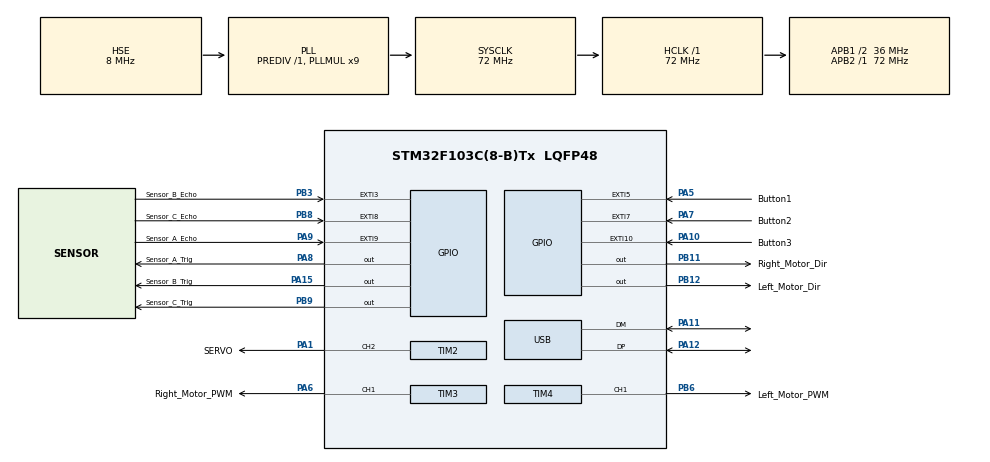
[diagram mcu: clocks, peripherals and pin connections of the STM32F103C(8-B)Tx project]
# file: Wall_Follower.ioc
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Mcu.Family=STM32F1
Mcu.Name=STM32F103C(8-B)Tx
Mcu.Package=LQFP48
NVIC.PriorityGroup=NVIC_PRIORITYGROUP_4
NVIC.USB_LP_CAN1_RX0_IRQn=true\:0\:0\:false\:false\:true\:false\:true\:true
PA1.GPIO_Label=SERVO
PA1.Signal=S_TIM2_CH2
PA10.GPIO_Label=Button3
PA10.GPIO_ModeDefaultEXTI=GPIO_MODE_IT_FALLING
PA10.GPIO_PuPd=GPIO_PULLUP
PA10.Signal=GPXTI10
PA11.Mode=Device
PA11.Signal=USB_DM
PA12.Mode=Device
PA12.Signal=USB_DP
PA13.Mode=Serial_Wire
PA13.Signal=SYS_JTMS-SWDIO
PA14.Mode=Serial_Wire
PA14.Signal=SYS_JTCK-SWCLK
PA15.GPIO_Label=Sensor_B_Trig
PA15.Signal=GPIO_Output
PA5.GPIO_Label=Button1
PA5.Signal=GPXTI5
PA6.GPIO_Label=Right_Motor_PWM
PA6.Signal=S_TIM3_CH1
PA7.GPIO_Label=Button2
PA7.GPIO_ModeDefaultEXTI=GPIO_MODE_IT_FALLING
PA7.GPIO_PuPd=GPIO_PULLUP
PA7.Signal=GPXTI7
PA8.GPIO_Label=Sensor_A_Trig
PA8.Signal=GPIO_Output
PA9.GPIO_Label=Sensor_A_Echo
PA9.GPIO_ModeDefaultEXTI=GPIO_MODE_IT_RISING_FALLING
PA9.Signal=GPXTI9
PB11.GPIO_Label=Right_Motor_Dir
PB11.Signal=GPIO_Output
PB12.GPIO_Label=Left_Motor_Dir
PB12.Signal=GPIO_Output
PB3.GPIO_Label=Sensor_B_Echo
PB3.GPIO_ModeDefaultEXTI=GPIO_MODE_IT_RISING_FALLING
PB3.Signal=GPXTI3
PB6.GPIO_Label=Left_Motor_PWM
PB6.Signal=S_TIM4_CH1
PB8.GPIO_Label=Sensor_C_Echo
PB8.GPIO_ModeDefaultEXTI=GPIO_MODE_IT_RISING_FALLING
PB8.Signal=GPXTI8
PB9.GPIO_Label=Sensor_C_Trig
PB9.Signal=GPIO_Output
PC14-OSC32_IN.Mode=LSE-External-Clock-Source
PC14-OSC32_IN.Signal=RCC_OSC32_IN
PC15-OSC32_OUT.Mode=LSE-External-Clock-Source
PC15-OSC32_OUT.Signal=RCC_OSC32_OUT
PD0-OSC_IN.Mode=HSE-External-Oscillator
PD0-OSC_IN.Signal=RCC_OSC_IN
PD1-OSC_OUT.Mode=HSE-External-Oscillator
PD1-OSC_OUT.Signal=RCC_OSC_OUT
ProjectManager.HeapSize=0x200
ProjectManager.StackSize=0x400
ProjectManager.TargetToolchain=STM32CubeIDE
RCC.AHBFreq_Value=72000000
RCC.APB1CLKDivider=RCC_HCLK_DIV2
RCC.APB1Freq_Value=36000000
RCC.APB1TimFreq_Value=72000000
RCC.APB2Freq_Value=72000000
RCC.APB2TimFreq_Value=72000000
RCC.HCLKFreq_Value=72000000
RCC.PLLMUL=RCC_PLL_MUL9
RCC.PLLSourceVirtual=RCC_PLLSOURCE_HSE
RCC.SYSCLKFreq_VALUE=72000000
RCC.SYSCLKSource=RCC_SYSCLKSOURCE_PLLCLK
RCC.USBFreq_Value=48000000
RCC.USBPrescaler=RCC_USBCLKSOURCE_PLL_DIV1_5
SH.S_TIM2_CH2.0=TIM2_CH2,PWM Generation2 CH2
SH.S_TIM3_CH1.0=TIM3_CH1,PWM Generation1 CH1
SH.S_TIM4_CH1.0=TIM4_CH1,PWM Generation1 CH1
TIM1.AutoReloadPreload=TIM_AUTORELOAD_PRELOAD_ENABLE
TIM1.Prescaler=36-1
TIM2.AutoReloadPreload=TIM_AUTORELOAD_PRELOAD_ENABLE
TIM2.Channel-PWM\ Generation2\ CH2=TIM_CHANNEL_2
TIM2.Prescaler=3600-1
TIM3.AutoReloadPreload=TIM_AUTORELOAD_PRELOAD_ENABLE
TIM3.Channel-PWM\ Generation1\ CH1=TIM_CHANNEL_1
TIM3.Period=65535
TIM3.Prescaler=0
TIM3.Pulse-PWM\ Generation1\ CH1=0
TIM4.AutoReloadPreload=TIM_AUTORELOAD_PRELOAD_ENABLE
TIM4.Channel-PWM\ Generation1\ CH1=TIM_CHANNEL_1
TIM4.Period=65535
TIM4.Prescaler=0
TIM4.Pulse-PWM\ Generation1\ CH1=0
USB_DEVICE.CLASS_NAME_FS=CDC
USB_DEVICE.VirtualMode=Cdc
USB_DEVICE.VirtualModeFS=Cdc_FS
VP_TIM1_VS_ClockSourceINT.Mode=Internal
VP_TIM2_VS_ClockSourceINT.Mode=Internal
VP_TIM3_VS_ClockSourceINT.Mode=Internal
VP_TIM4_VS_ClockSourceINT.Mode=Internal
VP_USB_DEVICE_VS_USB_DEVICE_CDC_FS.Mode=CDC_FS
board=custom

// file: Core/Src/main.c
/* USER CODE BEGIN Header */
/**
 ******************************************************************************
 * @file           : main.c
 * @brief          : Main program body
 ******************************************************************************
 * @attention
 *
 * Copyright (c) 2023 STMicroelectronics.
 * All rights reserved.
 *
 * This software is licensed under terms that can be found in the LICENSE file
 * in the root directory of this software component.
 * If no LICENSE file comes with this software, it is provided AS-IS.
 *
 ******************************************************************************
 */
/* USER CODE END Header */
#include "main.h"
#include "usb_device.h"

/* USER CODE BEGIN Includes */
#include "physical_parameters.h"
#include "Motors.h"
#include "Control.h"
#include "Sensors.h"
#include "debug.h"
#include <math.h>
/* USER CODE END Includes */

/* USER CODE BEGIN PM */
ultra_sonic_t front_sensor = { .sensor_echo_pin = Sensor_A_Trig_Pin, .sensor_echo_port = Sensor_A_Trig_GPIO_Port, .sensor_trig_pin = Sensor_A_Echo_Pin, .sensor_trig_port = Sensor_A_Echo_GPIO_Port };
ultra_sonic_t top_left_sensor = { .sensor_echo_pin = Sensor_B_Trig_Pin, .sensor_echo_port = Sensor_B_Trig_GPIO_Port, .sensor_trig_pin = Sensor_B_Echo_Pin, .sensor_trig_port = Sensor_B_Echo_GPIO_Port };
ultra_sonic_t top_right_sensor = { .sensor_echo_pin = Sensor_C_Trig_Pin, .sensor_echo_port = Sensor_C_Trig_GPIO_Port, .sensor_trig_pin = Sensor_C_Echo_Pin, .sensor_trig_port = Sensor_C_Echo_GPIO_Port };
/* USER CODE END PM */

TIM_HandleTypeDef htim1;
TIM_HandleTypeDef htim2;
TIM_HandleTypeDef htim3;
TIM_HandleTypeDef htim4;

/* USER CODE BEGIN PV */
TIM_HandleTypeDef *Micros_Timer = &htim1;
TIM_HandleTypeDef *Millis_Timer = &htim2;
TIM_HandleTypeDef *Right_Motor_Timer = &htim3;
TIM_HandleTypeDef *Left_Motor_Timer = &htim4;
/* USER CODE END PV */

void SystemClock_Config(void);
static void MX_GPIO_Init(void);
static void MX_TIM3_Init(void);
static void MX_TIM4_Init(void);
static void MX_TIM1_Init(void);
static void MX_TIM2_Init(void);

/* USER CODE BEGIN 0 */

uint32_t micros(TIM_HandleTypeDef *timer) {
	return __HAL_TIM_GET_COUNTER(timer);
}

uint32_t millis(TIM_HandleTypeDef *timer) {
	return __HAL_TIM_GET_COUNTER(timer);
}

void HAL_GPIO_EXTI_Callback(uint16_t GPIO_Pin) {
	uint32_t time_diff = 0;
	switch (GPIO_Pin) {
	case Sensor_A_Echo_Pin:
		if (front_sensor.start_time == 0) {
			front_sensor.start_time = micros(Micros_Timer);		// Time in uS
		} else {
			time_diff = micros(Micros_Timer) - front_sensor.start_time;
			front_sensor.distance_read = time_diff/1E6 * SPEED_OF_SOUND / 2;
			front_sensor.start_time = 0;
		}
		break;
	case Sensor_B_Echo_Pin:
//		timeNow = micros(Micros_Timer);
		break;
	case Sensor_C_Echo_Pin:
//		timeNow = micros(Micros_Timer);
		break;
	case Button1_Pin:
		break;
	case Button2_Pin:
		break;
	case Button3_Pin:
		break;
	}
}
motor_t left_motor;
motor_t right_motor;
robot_pos_t robot_pos;

uint32_t prev_time_ms = 0;

enum debug_level dbg_level;
enum debug_level dbg = DBG;

// Target position to reach
float target_vector[3][2] = { { 0, 5, 0.3 }, { 0.2, 0.5 }, { 0.6, 0.4 } };
uint8_t waypoint_idx = 0;
float target_dist_threshold = 0.1;

float drive_speed = 2 * 2 * M_PI;		// Robot drive speed is 2 rev/s

/* USER CODE END 0 */

int main(void)
{
  /* USER CODE BEGIN 1 */
	left_motor.motor_timer = Left_Motor_Timer;
	left_motor.dir_pin_port = Left_Motor_Dir_GPIO_Port;
	left_motor.dir_pin = Left_Motor_Dir_Pin;
	left_motor.rate_rps = 0;

	right_motor.motor_timer = Right_Motor_Timer;
	right_motor.dir_pin_port = Right_Motor_Dir_GPIO_Port;
	right_motor.dir_pin = Right_Motor_Dir_Pin;
	right_motor.rate_rps = 0;

	robot_pos.left_motor = &left_motor;
	robot_pos.right_motor = &right_motor;
	robot_pos.x = 0;
	robot_pos.y = 0;
	robot_pos.theta = 0;
	robot_pos.drive_speed = drive_speed;

  /* USER CODE END 1 */

  /* MCU Configuration--------------------------------------------------------*/

  /* Reset of all peripherals, Initializes the Flash interface and the Systick. */
  HAL_Init();

  /* Configure the system clock */
  SystemClock_Config();

  /* Initialize all configured peripherals */
  MX_GPIO_Init();
  MX_TIM3_Init();
  MX_TIM4_Init();
  MX_TIM1_Init();
  MX_TIM2_Init();
  MX_USB_DEVICE_Init();
  /* USER CODE BEGIN 2 */
	// Start time reference counters
	HAL_TIM_Base_Start(Millis_Timer);
	HAL_TIM_Base_Start(Micros_Timer);

  /* USER CODE END 2 */

  /* Infinite loop */
	while (1) {

    /* USER CODE BEGIN 3 */

		calibrate_drive(0.01, 0.01, &left_motor, &right_motor);
		while(1);

		float target_x = target_vector[waypoint_idx][0];
		float target_y = target_vector[waypoint_idx][1];
		float target_angle = atan2(target_y - robot_pos.y, target_x - robot_pos.x);
		float dist_to_target = sqrt((target_y - robot_pos.y) * (target_y - robot_pos.y) + (target_x - robot_pos.x) * (target_x - robot_pos.x));

		/* Check if target location is reached */
		if (dist_to_target < target_dist_threshold) {
			uint8_t num_waypoints = sizeof(target_vector) / sizeof(target_vector[0]);
			if (waypoint_idx >= num_waypoints) {
				robot_pos.drive_speed = 0;
				drive_motor_speed(&left_motor, left_motor.rate_rps);
				drive_motor_speed(&right_motor, right_motor.rate_rps);
			}

			else {
				waypoint_idx++;
				robot_pos.drive_speed = 0;
				drive_motor_speed(&left_motor, left_motor.rate_rps);
				drive_motor_speed(&right_motor, right_motor.rate_rps);
			}

		}

		/* Drive the robot to the target location */
		steer_to_target(&robot_pos, target_angle);
		drive_motor_speed(&left_motor, left_motor.rate_rps);
		drive_motor_speed(&right_motor, right_motor.rate_rps);

		/* Check for obstacles */

		// Update vehicle state based on change of motor rate
		uint32_t current_time_ms = millis(Millis_Timer);
		float dt = prev_time_ms - current_time_ms;
		prev_time_ms = current_time_ms;
		update_robot_position(&robot_pos, dt);

		HAL_Delay(10);

		char print_string[64];
		size_t sz = snprintf(print_string, sizeof(print_string), "robot_state -> x: %f, y: %f, theta: %f\r\n", robot_pos.x, robot_pos.y, robot_pos.theta);
		debug_print(print_string, sz, dbg);

	}
  /* USER CODE END 3 */
}

void SystemClock_Config(void)
{
  RCC_OscInitTypeDef RCC_OscInitStruct = {0};
  RCC_ClkInitTypeDef RCC_ClkInitStruct = {0};
  RCC_PeriphCLKInitTypeDef PeriphClkInit = {0};

  /** Initializes the RCC Oscillators according to the specified parameters
  * in the RCC_OscInitTypeDef structure.
  */
  RCC_OscInitStruct.OscillatorType = RCC_OSCILLATORTYPE_HSE;
  RCC_OscInitStruct.HSEState = RCC_HSE_ON;
  RCC_OscInitStruct.HSEPredivValue = RCC_HSE_PREDIV_DIV1;
  RCC_OscInitStruct.HSIState = RCC_HSI_ON;
  RCC_OscInitStruct.PLL.PLLState = RCC_PLL_ON;
  RCC_OscInitStruct.PLL.PLLSource = RCC_PLLSOURCE_HSE;
  RCC_OscInitStruct.PLL.PLLMUL = RCC_PLL_MUL9;
  if (HAL_RCC_OscConfig(&RCC_OscInitStruct) != HAL_OK)
  {
    Error_Handler();
  }

  /** Initializes the CPU, AHB and APB buses clocks
  */
  RCC_ClkInitStruct.ClockType = RCC_CLOCKTYPE_HCLK|RCC_CLOCKTYPE_SYSCLK
                              |RCC_CLOCKTYPE_PCLK1|RCC_CLOCKTYPE_PCLK2;
  RCC_ClkInitStruct.SYSCLKSource = RCC_SYSCLKSOURCE_PLLCLK;
  RCC_ClkInitStruct.AHBCLKDivider = RCC_SYSCLK_DIV1;
  RCC_ClkInitStruct.APB1CLKDivider = RCC_HCLK_DIV2;
  RCC_ClkInitStruct.APB2CLKDivider = RCC_HCLK_DIV1;

  if (HAL_RCC_ClockConfig(&RCC_ClkInitStruct, FLASH_LATENCY_2) != HAL_OK)
  {
    Error_Handler();
  }
  PeriphClkInit.PeriphClockSelection = RCC_PERIPHCLK_USB;
  PeriphClkInit.UsbClockSelection = RCC_USBCLKSOURCE_PLL_DIV1_5;
  if (HAL_RCCEx_PeriphCLKConfig(&PeriphClkInit) != HAL_OK)
  {
    Error_Handler();
  }
}

static void MX_TIM1_Init(void)
{

  TIM_ClockConfigTypeDef sClockSourceConfig = {0};
  TIM_MasterConfigTypeDef sMasterConfig = {0};

  htim1.Instance = TIM1;
  htim1.Init.Prescaler = 36-1;
  htim1.Init.CounterMode = TIM_COUNTERMODE_UP;
  htim1.Init.Period = 65535;
  htim1.Init.ClockDivision = TIM_CLOCKDIVISION_DIV1;
  htim1.Init.RepetitionCounter = 0;
  htim1.Init.AutoReloadPreload = TIM_AUTORELOAD_PRELOAD_ENABLE;
  if (HAL_TIM_Base_Init(&htim1) != HAL_OK)
  {
    Error_Handler();
  }
  sClockSourceConfig.ClockSource = TIM_CLOCKSOURCE_INTERNAL;
  if (HAL_TIM_ConfigClockSource(&htim1, &sClockSourceConfig) != HAL_OK)
  {
    Error_Handler();
  }
  sMasterConfig.MasterOutputTrigger = TIM_TRGO_RESET;
  sMasterConfig.MasterSlaveMode = TIM_MASTERSLAVEMODE_DISABLE;
  if (HAL_TIMEx_MasterConfigSynchronization(&htim1, &sMasterConfig) != HAL_OK)
  {
    Error_Handler();
  }

}

static void MX_TIM2_Init(void)
{

  TIM_ClockConfigTypeDef sClockSourceConfig = {0};
  TIM_MasterConfigTypeDef sMasterConfig = {0};
  TIM_OC_InitTypeDef sConfigOC = {0};

  htim2.Instance = TIM2;
  htim2.Init.Prescaler = 3600-1;
  htim2.Init.CounterMode = TIM_COUNTERMODE_UP;
  htim2.Init.Period = 65535;
  htim2.Init.ClockDivision = TIM_CLOCKDIVISION_DIV1;
  htim2.Init.AutoReloadPreload = TIM_AUTORELOAD_PRELOAD_ENABLE;
  if (HAL_TIM_Base_Init(&htim2) != HAL_OK)
  {
    Error_Handler();
  }
  sClockSourceConfig.ClockSource = TIM_CLOCKSOURCE_INTERNAL;
  if (HAL_TIM_ConfigClockSource(&htim2, &sClockSourceConfig) != HAL_OK)
  {
    Error_Handler();
  }
  if (HAL_TIM_PWM_Init(&htim2) != HAL_OK)
  {
    Error_Handler();
  }
  sMasterConfig.MasterOutputTrigger = TIM_TRGO_RESET;
  sMasterConfig.MasterSlaveMode = TIM_MASTERSLAVEMODE_DISABLE;
  if (HAL_TIMEx_MasterConfigSynchronization(&htim2, &sMasterConfig) != HAL_OK)
  {
    Error_Handler();
  }
  sConfigOC.OCMode = TIM_OCMODE_PWM1;
  sConfigOC.Pulse = 0;
  sConfigOC.OCPolarity = TIM_OCPOLARITY_HIGH;
  sConfigOC.OCFastMode = TIM_OCFAST_DISABLE;
  if (HAL_TIM_PWM_ConfigChannel(&htim2, &sConfigOC, TIM_CHANNEL_2) != HAL_OK)
  {
    Error_Handler();
  }
  HAL_TIM_MspPostInit(&htim2);

}

static void MX_TIM3_Init(void)
{

  TIM_ClockConfigTypeDef sClockSourceConfig = {0};
  TIM_MasterConfigTypeDef sMasterConfig = {0};
  TIM_OC_InitTypeDef sConfigOC = {0};

  htim3.Instance = TIM3;
  htim3.Init.Prescaler = 0;
  htim3.Init.CounterMode = TIM_COUNTERMODE_UP;
  htim3.Init.Period = 65535;
  htim3.Init.ClockDivision = TIM_CLOCKDIVISION_DIV1;
  htim3.Init.AutoReloadPreload = TIM_AUTORELOAD_PRELOAD_ENABLE;
  if (HAL_TIM_Base_Init(&htim3) != HAL_OK)
  {
    Error_Handler();
  }
  sClockSourceConfig.ClockSource = TIM_CLOCKSOURCE_INTERNAL;
  if (HAL_TIM_ConfigClockSource(&htim3, &sClockSourceConfig) != HAL_OK)
  {
    Error_Handler();
  }
  if (HAL_TIM_PWM_Init(&htim3) != HAL_OK)
  {
    Error_Handler();
  }
  sMasterConfig.MasterOutputTrigger = TIM_TRGO_RESET;
  sMasterConfig.MasterSlaveMode = TIM_MASTERSLAVEMODE_DISABLE;
  if (HAL_TIMEx_MasterConfigSynchronization(&htim3, &sMasterConfig) != HAL_OK)
  {
    Error_Handler();
  }
  sConfigOC.OCMode = TIM_OCMODE_PWM1;
  sConfigOC.Pulse = 0;
  sConfigOC.OCPolarity = TIM_OCPOLARITY_HIGH;
  sConfigOC.OCFastMode = TIM_OCFAST_DISABLE;
  if (HAL_TIM_PWM_ConfigChannel(&htim3, &sConfigOC, TIM_CHANNEL_1) != HAL_OK)
  {
    Error_Handler();
  }
  HAL_TIM_MspPostInit(&htim3);

}

static void MX_TIM4_Init(void)
{

  TIM_ClockConfigTypeDef sClockSourceConfig = {0};
  TIM_MasterConfigTypeDef sMasterConfig = {0};
  TIM_OC_InitTypeDef sConfigOC = {0};

  htim4.Instance = TIM4;
  htim4.Init.Prescaler = 0;
  htim4.Init.CounterMode = TIM_COUNTERMODE_UP;
  htim4.Init.Period = 65535;
  htim4.Init.ClockDivision = TIM_CLOCKDIVISION_DIV1;
  htim4.Init.AutoReloadPreload = TIM_AUTORELOAD_PRELOAD_ENABLE;
  if (HAL_TIM_Base_Init(&htim4) != HAL_OK)
  {
    Error_Handler();
  }
  sClockSourceConfig.ClockSource = TIM_CLOCKSOURCE_INTERNAL;
  if (HAL_TIM_ConfigClockSource(&htim4, &sClockSourceConfig) != HAL_OK)
  {
    Error_Handler();
  }
  if (HAL_TIM_PWM_Init(&htim4) != HAL_OK)
  {
    Error_Handler();
  }
  sMasterConfig.MasterOutputTrigger = TIM_TRGO_RESET;
  sMasterConfig.MasterSlaveMode = TIM_MASTERSLAVEMODE_DISABLE;
  if (HAL_TIMEx_MasterConfigSynchronization(&htim4, &sMasterConfig) != HAL_OK)
  {
    Error_Handler();
  }
  sConfigOC.OCMode = TIM_OCMODE_PWM1;
  sConfigOC.Pulse = 0;
  sConfigOC.OCPolarity = TIM_OCPOLARITY_HIGH;
  sConfigOC.OCFastMode = TIM_OCFAST_DISABLE;
  if (HAL_TIM_PWM_ConfigChannel(&htim4, &sConfigOC, TIM_CHANNEL_1) != HAL_OK)
  {
    Error_Handler();
  }
  HAL_TIM_MspPostInit(&htim4);

}

static void MX_GPIO_Init(void)
{
  GPIO_InitTypeDef GPIO_InitStruct = {0};

  /* GPIO Ports Clock Enable */
  __HAL_RCC_GPIOC_CLK_ENABLE();
  __HAL_RCC_GPIOD_CLK_ENABLE();
  __HAL_RCC_GPIOA_CLK_ENABLE();
  __HAL_RCC_GPIOB_CLK_ENABLE();

  /*Configure GPIO pin Output Level */
  HAL_GPIO_WritePin(GPIOB, Right_Motor_Dir_Pin|Left_Motor_Dir_Pin|Sensor_C_Trig_Pin, GPIO_PIN_RESET);

  /*Configure GPIO pin Output Level */
  HAL_GPIO_WritePin(GPIOA, Sensor_A_Trig_Pin|Sensor_B_Trig_Pin, GPIO_PIN_RESET);

  /*Configure GPIO pin : Button1_Pin */
  GPIO_InitStruct.Pin = Button1_Pin;
  GPIO_InitStruct.Mode = GPIO_MODE_IT_RISING;
  GPIO_InitStruct.Pull = GPIO_NOPULL;
  HAL_GPIO_Init(Button1_GPIO_Port, &GPIO_InitStruct);

  /*Configure GPIO pins : Button2_Pin Button3_Pin */
  GPIO_InitStruct.Pin = Button2_Pin|Button3_Pin;
  GPIO_InitStruct.Mode = GPIO_MODE_IT_FALLING;
  GPIO_InitStruct.Pull = GPIO_PULLUP;
  HAL_GPIO_Init(GPIOA, &GPIO_InitStruct);

  /*Configure GPIO pins : Right_Motor_Dir_Pin Left_Motor_Dir_Pin Sensor_C_Trig_Pin */
  GPIO_InitStruct.Pin = Right_Motor_Dir_Pin|Left_Motor_Dir_Pin|Sensor_C_Trig_Pin;
  GPIO_InitStruct.Mode = GPIO_MODE_OUTPUT_PP;
  GPIO_InitStruct.Pull = GPIO_NOPULL;
  GPIO_InitStruct.Speed = GPIO_SPEED_FREQ_LOW;
  HAL_GPIO_Init(GPIOB, &GPIO_InitStruct);

  /*Configure GPIO pins : Sensor_A_Trig_Pin Sensor_B_Trig_Pin */
  GPIO_InitStruct.Pin = Sensor_A_Trig_Pin|Sensor_B_Trig_Pin;
  GPIO_InitStruct.Mode = GPIO_MODE_OUTPUT_PP;
  GPIO_InitStruct.Pull = GPIO_NOPULL;
  GPIO_InitStruct.Speed = GPIO_SPEED_FREQ_LOW;
  HAL_GPIO_Init(GPIOA, &GPIO_InitStruct);

  /*Configure GPIO pin : Sensor_A_Echo_Pin */
  GPIO_InitStruct.Pin = Sensor_A_Echo_Pin;
  GPIO_InitStruct.Mode = GPIO_MODE_IT_RISING_FALLING;
  GPIO_InitStruct.Pull = GPIO_NOPULL;
  HAL_GPIO_Init(Sensor_A_Echo_GPIO_Port, &GPIO_InitStruct);

  /*Configure GPIO pins : Sensor_B_Echo_Pin Sensor_C_Echo_Pin */
  GPIO_InitStruct.Pin = Sensor_B_Echo_Pin|Sensor_C_Echo_Pin;
  GPIO_InitStruct.Mode = GPIO_MODE_IT_RISING_FALLING;
  GPIO_InitStruct.Pull = GPIO_NOPULL;
  HAL_GPIO_Init(GPIOB, &GPIO_InitStruct);

}

void Error_Handler(void)
{
	__disable_irq();
	while (1) {
	}
}
